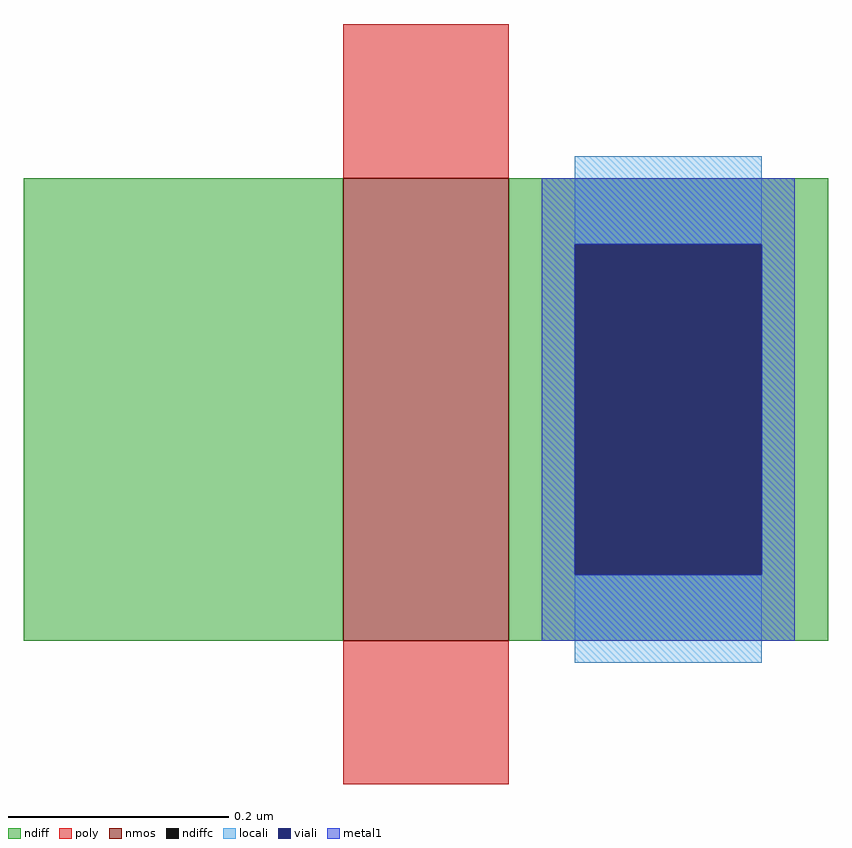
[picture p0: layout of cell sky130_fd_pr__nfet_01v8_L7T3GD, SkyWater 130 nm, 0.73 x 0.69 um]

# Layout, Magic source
magic
tech sky130A
magscale 1 2
<< nmos >>
rect -15 -42 15 42
<< ndiff >>
rect -73 -42 -15 42
rect 15 30 73 42
rect 15 -30 27 30
rect 61 -30 73 30
rect 15 -42 73 -30
<< ndiffc >>
rect 27 -30 61 30
<< poly >>
rect -15 42 15 70
rect -15 -68 15 -42
<< locali >>
rect 27 30 61 46
rect 27 -46 61 -30
<< viali >>
rect 27 -30 61 30
<< metal1 >>
rect 21 30 67 42
rect 21 -30 27 30
rect 61 -30 67 30
rect 21 -42 67 -30
<< properties >>
string FIXED_BBOX -158 -199 158 199
string gencell sky130_fd_pr__nfet_01v8
string library sky130
string parameters w 0.42 l 0.15 m 1 nf 1 diffcov 100 polycov 100 guard 1 glc 1 grc 1 gtc 1 gbc 1 tbcov 100 rlcov 100 topc 1 botc 1 poverlap 0 doverlap 1 lmin 0.15 wmin 0.42 compatible {sky130_fd_pr__nfet_01v8 sky130_fd_pr__nfet_01v8_lvt  sky130_fd_bs_flash__special_sonosfet_star  sky130_fd_pr__nfet_g5v0d10v5 sky130_fd_pr__nfet_05v0_nvt  sky130_fd_pr__nfet_03v3_nvt} full_metal 1 viasrc 100 viadrn 100 viagate 100 viagb 0 viagr 0 viagl 0 viagt 0
<< end >>
